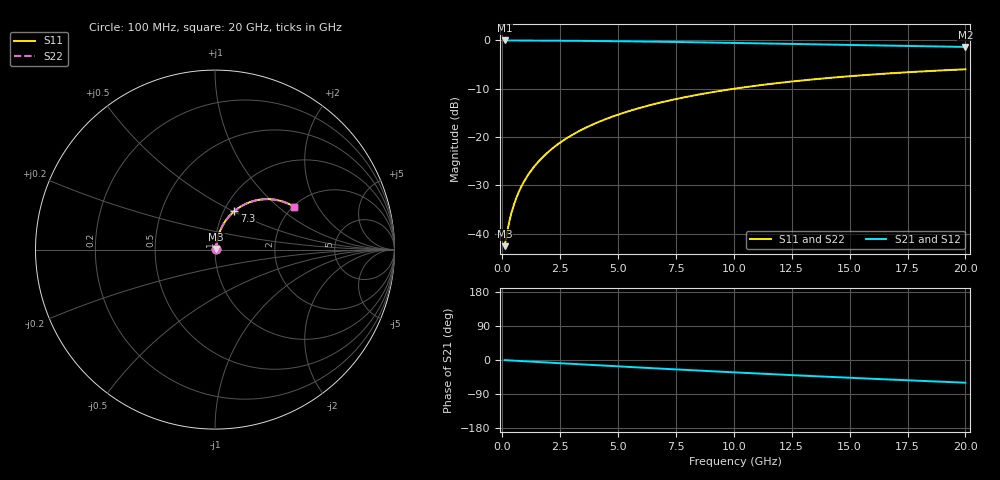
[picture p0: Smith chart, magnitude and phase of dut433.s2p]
! Touchstone file exported from HFSS 2026.1.0
!  File:  C:/ffzhzh/LocalFiles/Ansys_Project_Files/temp_train_TMRDL_433_1783005484_53980.aedt
!  Generated:  11:19:41 PM Jul  2, 2026
!  Design:  TMRDL
!  Project:  temp_train_TMRDL_433_1783005484_53980
! Variables:
!  h_bsmrdl = 2um
!  h_ox = 20um
!  h_rdl = 5um
!  h_sub = 80um
!  h_tmrdl = 2.56um
!  h_tsv = 80um
!  h_via = 3um
!  l_bsmrdl = 300um
!  l_sub = 1333.56um
!  l_tmrdl = 933.56um
!  m_sub = 200um
!  pitch = 46.37um
!  r_tsv = 6um
!  s_tmrdl = 10um
!  w_bsmrdl = 18um
!  w_sub = 500um
!  w_tmrdl = 20.85um
!  x_tsv_center1 = 943.985um
!  x_tsv_center2 = 1261.985um
!  x_tsv_center3 = 2216.395um
!  x_tsv_center4 = 2534.395um
!  x_tsv_center5 = 3488.805um
!  x_tsv_center6 = 3806.805um
# GHz S MA R 50.000000
! Terminal data exported
! Port[1] = TM_RDL1_1_T1
! Port[2] = TM_RDL1_1_T2
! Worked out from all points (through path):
!   200 points, 100 MHz to 20 GHz, reference 50 ohm
!   highest |S21| = -0.06 dB at 100 MHz (marker M1); lowest = -1.4 dB at 20 GHz (marker M2)
!   group delay of S21, straight-line fit = 8.33 ps
!   lowest |S11| = -42.6 dB at 100 MHz (marker M3), VSWR 1.01, Z = 50.6 + j0.388 ohm
!   |S11| at or under -10 dB: start of sweep to 10.06 GHz
!   |S22| runs from -42.6 to -6.0 dB; largest |S21 - S12| = 2.4e-15
!   S11 on the Smith chart (normalised r, x): 100 MHz: 1.01, +0.01; 7.3 GHz: 1.12, +0.51; 20 GHz: 2.02, +1.29
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0.1  0.007438 31.0  0.9936 -0.4  0.9936 -0.4  0.007438 31.0
! Gamma 0 0 0 0
! Port Impedance 50 0 50 0
0.2  0.01008 48.9  0.9934 -0.7  0.9934 -0.7  0.01008 48.9
0.3  0.01324 58.2  0.9932 -1.1  0.9932 -1.1  0.01324 58.2
0.4  0.01655 63.5  0.9929 -1.4  0.9929 -1.4  0.01655 63.5
0.5  0.01989 66.8  0.9926 -1.8  0.9926 -1.8  0.01989 66.8
0.6  0.02324 69.2  0.9923 -2.1  0.9923 -2.1  0.02324 69.2
0.8  0.02993 72.2  0.9918 -2.8  0.9918 -2.8  0.02993 72.2
1.1  0.04001 74.6  0.9912 -3.8  0.9912 -3.8  0.04001 74.6
1.3  0.04677 75.5  0.9908 -4.5  0.9908 -4.5  0.04677 75.5
1.6  0.05694 76.1  0.9901 -5.5  0.9901 -5.5  0.05694 76.1
2.1  0.07391 76.2  0.9888 -7.2  0.9888 -7.2  0.07391 76.2
2.7  0.09423 75.5  0.9869 -9.2  0.9869 -9.2  0.09423 75.5
3.5  0.1211 73.9  0.9837 -11.9  0.9837 -11.9  0.1211 73.9
4.2  0.1442 72.1  0.9803 -14.2  0.9803 -14.2  0.1442 72.1
5  0.17 69.9  0.9758 -16.8  0.9758 -16.8  0.17 69.9
6.8  0.2258 64.7  0.9637 -22.7  0.9637 -22.7  0.2258 64.7
7.3  0.2406 63.2  0.9599 -24.3  0.9599 -24.3  0.2406 63.2
8.6  0.2775 59.3  0.9493 -28.3  0.9493 -28.3  0.2775 59.3
10.1  0.3171 54.9  0.9363 -32.9  0.9363 -32.9  0.3171 54.9
13.4  0.3931 45.6  0.9061 -42.5  0.9061 -42.5  0.3931 45.6
16.7  0.4537 36.8  0.877 -51.5  0.877 -51.5  0.4537 36.8
20  0.5003 28.5  0.8514 -59.9  0.8514 -59.9  0.5002 28.5
